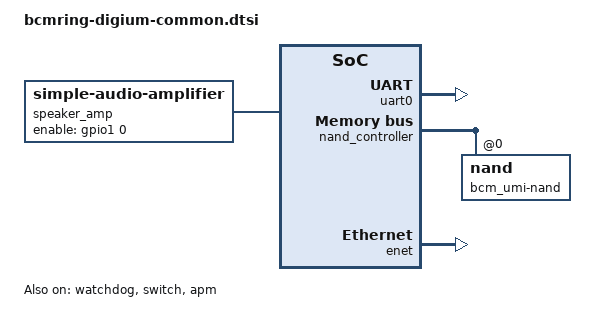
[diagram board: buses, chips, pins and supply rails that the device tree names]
// SPDX-License-Identifier: (GPL-2.0-only OR MIT)
/*
 * Parts common to the Digium/Sangoma D40, D45, D50, D70, D60, D62, and D65
 * desk phones (Broadcom BCMRING SoCs).
 *
 * Boot flow (read from the boot2 installed on a D60, a D40, and a D50):
 * boot2 copies the zImage (with the DTB appended) from the k0/k1 NAND
 * partition to the address in zImage header word 0x28, for a length of word
 * 0x2c minus word 0x28, and enters it with r0 = 0, r1 = 0x92b, r2 = ATAG
 * list (core, mem, revision, cmdline; at 0x00400004 on the D6x, 0x00200004
 * on the older models).  The two header words are set after the build, by
 * the tool that packs the firmware image.  With CONFIG_ARM_ATAG_DTB_COMPAT
 * the decompressor folds the ATAG memory and command line into the tree, so
 * /memory and bootargs in the board files are fallback values.  /memory must
 * nevertheless be right: CONFIG_AUTO_ZRELADDR places the kernel from it
 * before the ATAGs are merged.
 *
 * Include after the SoC .dtsi.
 */

/*
 * Standard Linux key codes (digium-keys.h); the board input files include
 * that header after this file.
 */
#define DIGIUM_KEYS_PROPOSED

/ {
	chosen {
		stdout-path = "serial0:115200n8";
		/*
		 * boot2 appends its own command line (console, mtdparts=, root=).
		 * panic=10: a panic, including the death of PID 1, reboots.
		 * The console UART is also the EHS headset adapter's port, so
		 * the PL011 driver writes no kernel messages to it until user
		 * space asks (amba_pl011.console_output); add
		 * amba_pl011.console_output=1 here to see them from the start.
		 */
		bootargs = "console=ttyAMA0,115200n8 earlycon=pl011,0x80012000 panic=10";
	};

	/*
	 * "External speaker op-amp" enable, vendor GPIO 32 on every model
	 * (halaudio extensions config).  The vendor drives it high at probe
	 * and it reads high on an idle D40, D50, and D60 under stock
	 * firmware; that "high" means "enabled" is inferred, not measured.
	 */
	speaker_amp: speaker-amplifier {
		compatible = "simple-audio-amplifier";
		enable-gpios = <&gpio1 0 GPIO_ACTIVE_HIGH>;
		sound-name-prefix = "Speaker Amp";
	};

	/*
	 * Stands in for the shared-RAM bus gate in the DSP node.  The ramoops
	 * console below lives in the same RAM; with the real gate, unbinding
	 * the DSP driver (or a failed probe) would switch the RAM off under
	 * it.  The gate is on at hand-off (boot1 puts its first stack in this
	 * RAM), and the clock driver leaves unused gates alone.
	 */
	vram_gate_keep: clock-vram-keep {
		compatible = "fixed-clock";
		#clock-cells = <0>;
		clock-frequency = <0>;
	};

	reserved-memory {
		/*
		 * Kernel crash records in the top 16 KiB of the DSP shared
		 * RAM (on-chip): one 8 KiB record that the kernel writes when
		 * it panics or oopses, and the last 8 KiB of the console.
		 *
		 * Not in DDR: marker words in main RAM did not survive a
		 * reboot of a D60, while words in this RAM did, and the whole
		 * region survives watchdog resets and reboots under this
		 * kernel.  boot1 puts its first stack just
		 * below 0x40008000, and the DSP rings end at 0x4000a810 (new
		 * family) or 0x40008010 (old family), so nothing known writes
		 * here.  The region is outside /memory; "no-map" is there for
		 * the binding.
		 */
		ramoops@4000c000 {
			compatible = "ramoops";
			reg = <0x4000c000 0x4000>;
			record-size = <0x2000>;
			console-size = <0x2000>;
			/* ioremap(), not write-combining: every byte lands */
			mem-type = <1>;
			no-map;
		};
	};
};

&uart0 {
	status = "okay";
};

&watchdog {
	status = "okay";
};

&nand_controller {
	status = "okay";

	nand: nand@0 {
		reg = <0>;
		/* same MTD name as the vendor driver, for boot2's mtdparts= */
		label = "bcm_umi-nand";
	};
};

/*
 * Ethernet: b53 DSA switch with the FIFO-bridge netdev as conduit.  CPU
 * port 8, tag protocol "brcm" (chosen by b53 for this chip class; the
 * Broadcom header register 02:03 reads 3 under the stock firmware of a D40,
 * a D50, and a D60).  Core port 0 is the LAN jack and core port 1 the PC
 * jack: with one cable, in the LAN jack, only port 0 had a link on a D60 and
 * on a D40 (link status 01:00 = 0x101, i.e., ports 0 and 8).  For the D45,
 * D50, and D70 the assignment rests on the vendor scripts, which are
 * identical on all four old-family models and call port 0 "LAN" and port 1
 * "PC"; they do not use the bitmap swap in the old-family vendor module.
 * The IMP port runs at 1000 Mb/s on the 10/100 SoCs as well (speed
 * status 01:04, port 8 field = 2).
 *
 * MAC address: none in hardware.  The factory address is the ENETCFG_MAC
 * line of etc/enet.cfg in the JFFS2 file system of the "nvdata" partition,
 * which no NVMEM layout can describe.  Userspace must read it and set it on
 * the conduit and on both user ports (they copy the conduit's address when
 * created, i.e., before userspace runs); until then the conduit has a random
 * address.
 */
&enet {
	status = "okay";
};

&switch {
	status = "okay";
};

&switch_port0 {
	label = "lan";
};

&switch_port1 {
	label = "pc";
};

&apm {
	status = "okay";
};

/*
 * The SoC file gives the DSP the whole 64 KiB of shared RAM.  The driver
 * uses only the mailbox and the four rings behind it; 0xc000 leaves the top
 * 16 KiB to the ramoops region above.
 */
&vpm {
	reg = <0x30800000 0x2000>, <0x30a00000 0x10000>,
	      <0x40000000 0xc000>, <0x80003000 0x20>;
	/* see vram_gate_keep above */
	clocks = <&vram_gate_keep>;
};
